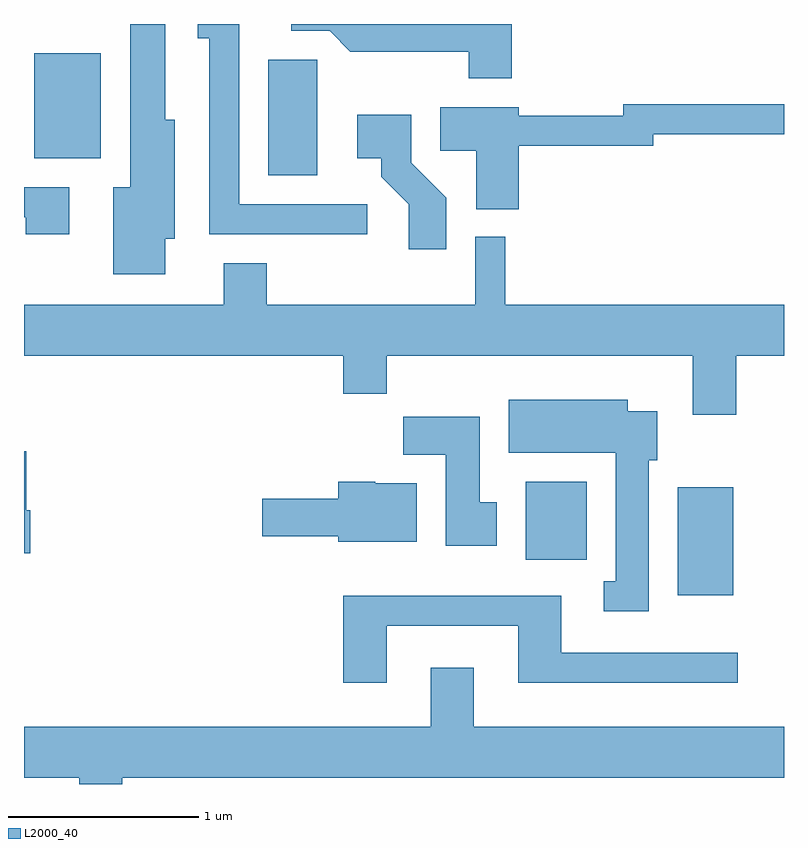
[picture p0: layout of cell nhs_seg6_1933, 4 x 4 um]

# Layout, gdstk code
import gdstk
lib = gdstk.Library(unit=1e-6, precision=1e-09)
def R(c, l, rs):  # rectangles x0, y0, x1, y1
    for r in rs: c.add(gdstk.rectangle(r[:2], r[2:], *l))
def P(c, l, *ps):  # polygons
    for p in ps: c.add(gdstk.Polygon(p, *l))
L2000_40 = (2000, 40)

nhs_seg6_1933 = lib.new_cell('nhs_seg6_1933')
R(nhs_seg6_1933, L2000_40, [(247.051,1613.156,247.344,1613.724), (246.251,1613.341,246.574,1613.754), (244.896,1615.366,245.154,1615.974), (243.666,1615.456,244.014,1616.009)])
P(nhs_seg6_1933, L2000_40, [(245.418,1615.214),(244.744,1615.214),(244.744,1616.162),(244.526,1616.162),(244.526,1616.086),(244.586,1616.086),(244.586,1615.056),(245.418,1615.056)],
  [(246.179,1616.162),(245.018,1616.162),(245.018,1616.126),(245.219,1616.126),(245.329,1616.016),(245.951,1616.016),(245.951,1615.876),(246.179,1615.876)],
  [(244.354,1615.031),(244.404,1615.031),(244.404,1615.659),(244.354,1615.659),(244.354,1616.162),(243.611,1616.162),(243.611,1616.161),(244.171,1616.161),(244.171,1615.304),(244.081,1615.304),(244.081,1614.846),(244.354,1614.846)],
  [(246.214,1615.521),(246.924,1615.521),(246.924,1615.581),(247.611,1615.581),(247.611,1615.739),(246.766,1615.739),(246.766,1615.679),(246.214,1615.679),(246.214,1615.724),(245.801,1615.724),(245.801,1615.496),(245.991,1615.496),(245.991,1615.186),(246.214,1615.186)],
  [(245.834,1615.247),(245.649,1615.432),(245.649,1615.684),(245.366,1615.684),(245.366,1615.456),(245.491,1615.456),(245.491,1615.359),(245.636,1615.214),(245.636,1614.976),(245.834,1614.976)],
  [(243.849,1615.304),(243.611,1615.304),(243.611,1615.146),(243.621,1615.146),(243.621,1615.056),(243.849,1615.056)],
  [(247.359,1614.416),(247.611,1614.416),(247.611,1614.684),(246.144,1614.684),(246.144,1615.043),(245.986,1615.043),(245.986,1614.684),(244.889,1614.684),(244.889,1614.904),(244.661,1614.904),(244.661,1614.684),(243.611,1614.684),(243.611,1614.416),(245.291,1614.416),(245.291,1614.216),(245.519,1614.216),(245.519,1614.416),(247.131,1614.416),(247.131,1614.106),(247.359,1614.106)],
  [(246.899,1613.866),(246.944,1613.866),(246.944,1614.124),(246.789,1614.124),(246.789,1614.184),(246.161,1614.184),(246.161,1613.906),(246.726,1613.906),(246.726,1613.229),(246.663,1613.229),(246.663,1613.071),(246.899,1613.071)],
  [(246.099,1613.644),(246.009,1613.644),(246.009,1614.094),(245.606,1614.094),(245.606,1613.896),(245.831,1613.896),(245.831,1613.416),(246.099,1613.416)],
  [(243.644,1613.604),(243.624,1613.604),(243.624,1613.914),(243.611,1613.914),(243.611,1613.376),(243.644,1613.376)],
  [(245.679,1613.744),(245.46,1613.744),(245.46,1613.754),(245.266,1613.754),(245.266,1613.664),(244.866,1613.664),(244.866,1613.466),(245.266,1613.466),(245.266,1613.436),(245.679,1613.436)],
  [(245.519,1612.996),(246.211,1612.996),(246.211,1612.696),(247.368,1612.696),(247.368,1612.854),(246.439,1612.854),(246.439,1613.154),(245.291,1613.154),(245.291,1612.696),(245.519,1612.696)],
  [(244.129,1612.196),(247.611,1612.196),(247.611,1612.464),(245.979,1612.464),(245.979,1612.774),(245.751,1612.774),(245.751,1612.464),(243.611,1612.464),(243.611,1612.196),(243.901,1612.196),(243.901,1612.162),(244.129,1612.162)])

lib.write_gds('nhs_seg6_1933.gds')
